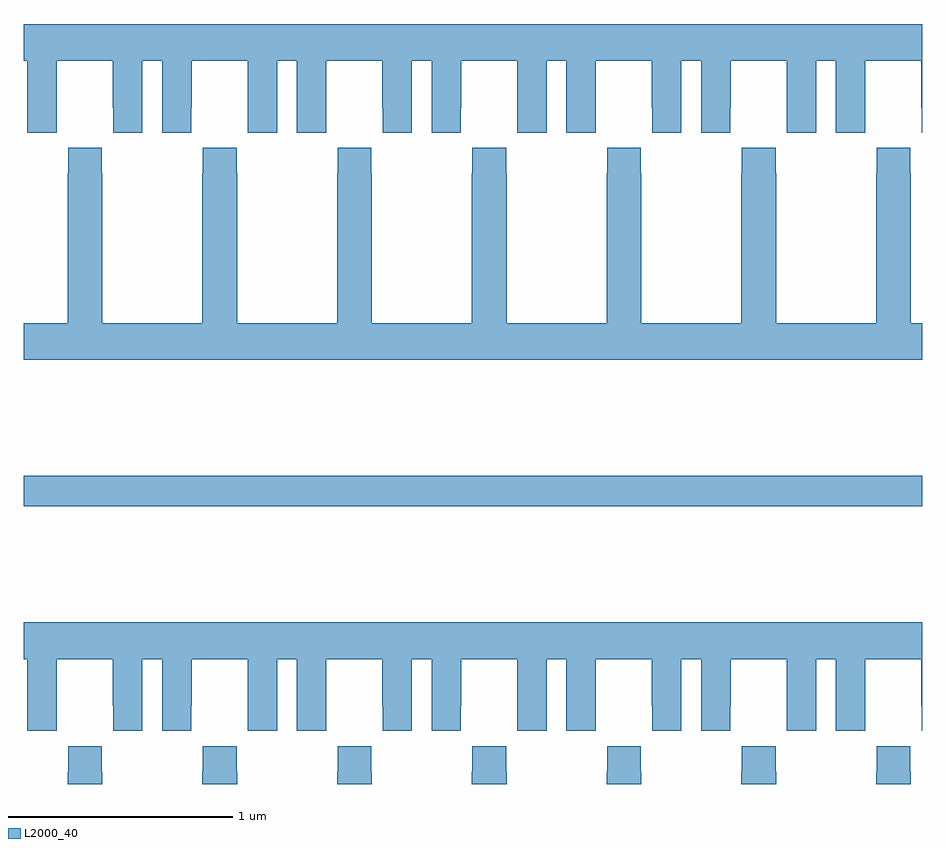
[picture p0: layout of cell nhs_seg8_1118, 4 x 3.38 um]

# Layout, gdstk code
import gdstk
lib = gdstk.Library(unit=1e-6, precision=1e-09)
def R(c, l, rs):  # rectangles x0, y0, x1, y1
    for r in rs: c.add(gdstk.rectangle(r[:2], r[2:], *l))
def P(c, l, *ps):  # polygons
    for p in ps: c.add(gdstk.Polygon(p, *l))
L2000_40 = (2000, 40)

nhs_seg8_1118 = lib.new_cell('nhs_seg8_1118')
R(nhs_seg8_1118, L2000_40, [(181,1161.136,185,1161.272)])
P(nhs_seg8_1118, L2000_40, [(181,1163.12),(181.016,1163.12),(181.016,1162.8),(181.146,1162.8),(181.146,1162.912),(181.147,1162.912),(181.147,1163.12),(181.397,1163.12),(181.397,1162.912),(181.398,1162.912),(181.398,1162.8),(181.528,1162.8),(181.528,1163.12),(181.616,1163.12),(181.616,1162.8),(181.746,1162.8),(181.746,1162.912),(181.747,1162.912),(181.747,1163.12),(181.997,1163.12),(181.997,1162.912),(181.998,1162.912),(181.998,1162.8),(182.128,1162.8),(182.128,1163.12),(182.216,1163.12),(182.216,1162.8),(182.346,1162.8),(182.346,1162.912),(182.347,1162.912),(182.347,1163.12),(182.597,1163.12),(182.597,1162.912),(182.598,1162.912),(182.598,1162.8),(182.728,1162.8),(182.728,1163.12),(182.816,1163.12),(182.816,1162.8),(182.946,1162.8),(182.946,1162.912),(182.947,1162.912),(182.947,1163.12),(183.197,1163.12),(183.197,1162.912),(183.198,1162.912),(183.198,1162.8),(183.328,1162.8),(183.328,1163.12),(183.416,1163.12),(183.416,1162.8),(183.546,1162.8),(183.546,1162.912),(183.547,1162.912),(183.547,1163.12),(183.797,1163.12),(183.797,1162.912),(183.798,1162.912),(183.798,1162.8),(183.928,1162.8),(183.928,1163.12),(184.016,1163.12),(184.016,1162.8),(184.146,1162.8),(184.146,1162.912),(184.147,1162.912),(184.147,1163.12),(184.397,1163.12),(184.397,1162.912),(184.398,1162.912),(184.398,1162.8),(184.528,1162.8),(184.528,1163.12),(184.616,1163.12),(184.616,1162.8),(184.746,1162.8),(184.746,1162.912),(184.747,1162.912),(184.747,1163.12),(184.997,1163.12),(184.997,1162.912),(184.998,1162.912),(184.998,1162.8),(185,1162.8),(185,1163.284),(181,1163.284)],
  [(185,1161.952),(184.95,1161.952),(184.95,1162.619),(184.947,1162.619),(184.947,1162.732),(184.797,1162.732),(184.797,1162.619),(184.795,1162.619),(184.795,1161.952),(184.35,1161.952),(184.35,1162.619),(184.347,1162.619),(184.347,1162.732),(184.197,1162.732),(184.197,1162.619),(184.195,1162.619),(184.195,1161.952),(183.75,1161.952),(183.75,1162.619),(183.747,1162.619),(183.747,1162.732),(183.597,1162.732),(183.597,1162.619),(183.595,1162.619),(183.595,1161.952),(183.15,1161.952),(183.15,1162.619),(183.147,1162.619),(183.147,1162.732),(182.997,1162.732),(182.997,1162.619),(182.995,1162.619),(182.995,1161.952),(182.55,1161.952),(182.55,1162.619),(182.547,1162.619),(182.547,1162.732),(182.397,1162.732),(182.397,1162.619),(182.395,1162.619),(182.395,1161.952),(181.95,1161.952),(181.95,1162.619),(181.947,1162.619),(181.947,1162.732),(181.797,1162.732),(181.797,1162.619),(181.795,1162.619),(181.795,1161.952),(181.35,1161.952),(181.35,1162.619),(181.347,1162.619),(181.347,1162.732),(181.197,1162.732),(181.197,1162.619),(181.195,1162.619),(181.195,1161.952),(181,1161.952),(181,1161.788),(185,1161.788)],
  [(181,1160.456),(181.016,1160.456),(181.016,1160.136),(181.146,1160.136),(181.146,1160.248),(181.147,1160.248),(181.147,1160.456),(181.397,1160.456),(181.397,1160.248),(181.398,1160.248),(181.398,1160.136),(181.528,1160.136),(181.528,1160.456),(181.616,1160.456),(181.616,1160.136),(181.746,1160.136),(181.746,1160.248),(181.747,1160.248),(181.747,1160.456),(181.997,1160.456),(181.997,1160.248),(181.998,1160.248),(181.998,1160.136),(182.128,1160.136),(182.128,1160.456),(182.216,1160.456),(182.216,1160.136),(182.346,1160.136),(182.346,1160.248),(182.347,1160.248),(182.347,1160.456),(182.597,1160.456),(182.597,1160.248),(182.598,1160.248),(182.598,1160.136),(182.728,1160.136),(182.728,1160.456),(182.816,1160.456),(182.816,1160.136),(182.946,1160.136),(182.946,1160.248),(182.947,1160.248),(182.947,1160.456),(183.197,1160.456),(183.197,1160.248),(183.198,1160.248),(183.198,1160.136),(183.328,1160.136),(183.328,1160.456),(183.416,1160.456),(183.416,1160.136),(183.546,1160.136),(183.546,1160.248),(183.547,1160.248),(183.547,1160.456),(183.797,1160.456),(183.797,1160.248),(183.798,1160.248),(183.798,1160.136),(183.928,1160.136),(183.928,1160.456),(184.016,1160.456),(184.016,1160.136),(184.146,1160.136),(184.146,1160.248),(184.147,1160.248),(184.147,1160.456),(184.397,1160.456),(184.397,1160.248),(184.398,1160.248),(184.398,1160.136),(184.528,1160.136),(184.528,1160.456),(184.616,1160.456),(184.616,1160.136),(184.746,1160.136),(184.746,1160.248),(184.747,1160.248),(184.747,1160.456),(184.997,1160.456),(184.997,1160.248),(184.998,1160.248),(184.998,1160.136),(185,1160.136),(185,1160.62),(181,1160.62)],
  [(181.95,1159.955),(181.947,1159.955),(181.947,1160.068),(181.797,1160.068),(181.797,1159.955),(181.795,1159.955),(181.795,1159.9),(181.95,1159.9)],
  [(181.35,1159.955),(181.347,1159.955),(181.347,1160.068),(181.197,1160.068),(181.197,1159.955),(181.195,1159.955),(181.195,1159.9),(181.35,1159.9)],
  [(184.95,1159.955),(184.947,1159.955),(184.947,1160.068),(184.797,1160.068),(184.797,1159.955),(184.795,1159.955),(184.795,1159.9),(184.95,1159.9)],
  [(184.35,1159.955),(184.347,1159.955),(184.347,1160.068),(184.197,1160.068),(184.197,1159.955),(184.195,1159.955),(184.195,1159.9),(184.35,1159.9)],
  [(183.75,1159.955),(183.747,1159.955),(183.747,1160.068),(183.597,1160.068),(183.597,1159.955),(183.595,1159.955),(183.595,1159.9),(183.75,1159.9)],
  [(183.15,1159.955),(183.147,1159.955),(183.147,1160.068),(182.997,1160.068),(182.997,1159.955),(182.995,1159.955),(182.995,1159.9),(183.15,1159.9)],
  [(182.55,1159.955),(182.547,1159.955),(182.547,1160.068),(182.397,1160.068),(182.397,1159.955),(182.395,1159.955),(182.395,1159.9),(182.55,1159.9)])

lib.write_gds('nhs_seg8_1118.gds')
